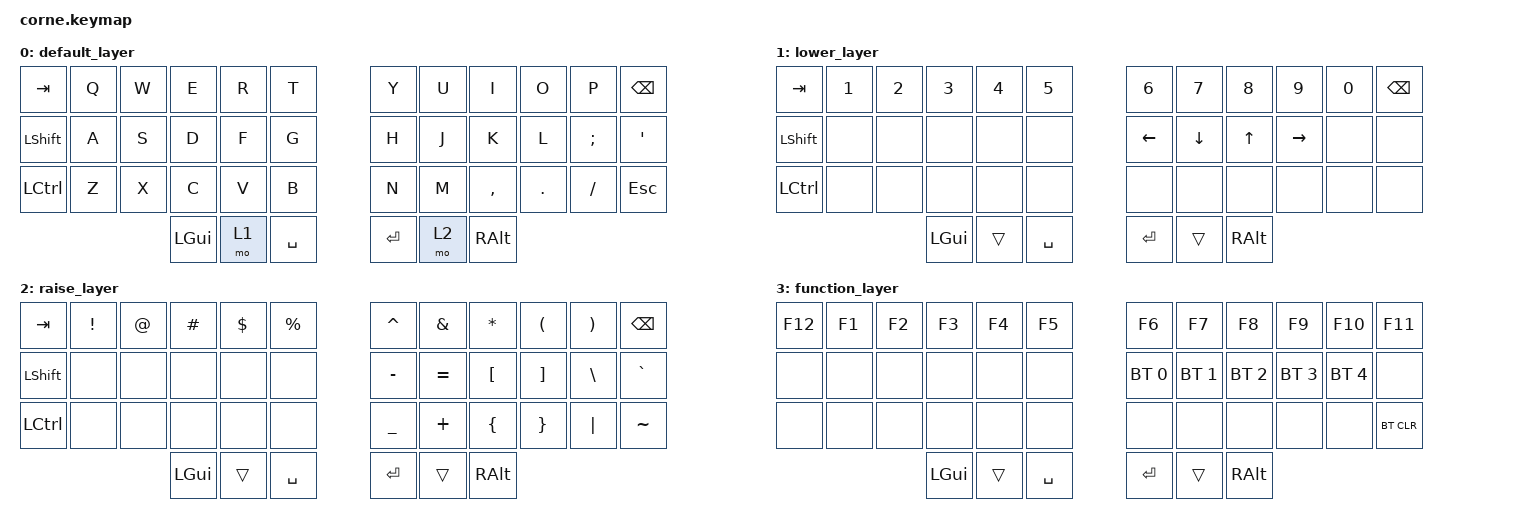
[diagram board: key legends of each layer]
/*
 * Auto-generated by convert.py from crkbd.layout.json
 * Do not edit manually — re-run the converter instead.
 */

#include <behaviors.dtsi>
#include <dt-bindings/zmk/keys.h>
#include <dt-bindings/zmk/bt.h>

/ {
    conditional_layers {
        compatible = "zmk,conditional-layers";
        tri_layer {
            if-layers = <1 2>;
            then-layer = <3>;
        };
    };

    keymap {
        compatible = "zmk,keymap";

        default_layer {
            // Default
            bindings = <
                &kp TAB      &kp Q        &kp W        &kp E        &kp R        &kp T          &kp Y        &kp U        &kp I        &kp O        &kp P        &kp BSPC    
                &kp LSHFT    &kp A        &kp S        &kp D        &kp F        &kp G          &kp H        &kp J        &kp K        &kp L        &kp SEMI     &kp SQT     
                &kp LCTRL    &kp Z        &kp X        &kp C        &kp V        &kp B          &kp N        &kp M        &kp COMMA    &kp DOT      &kp FSLH     &kp ESC     
                                        &kp LGUI     &mo 1        &kp SPACE    &kp RET      &mo 2        &kp RALT       
            >;
        };

        lower_layer {
            // Lower
            bindings = <
                &kp TAB      &kp N1       &kp N2       &kp N3       &kp N4       &kp N5         &kp N6       &kp N7       &kp N8       &kp N9       &kp N0       &kp BSPC    
                &kp LSHFT    &none        &none        &none        &none        &none          &kp LEFT     &kp DOWN     &kp UP       &kp RIGHT    &none        &none       
                &kp LCTRL    &none        &none        &none        &none        &none          &none        &none        &none        &none        &none        &none       
                                        &kp LGUI     &trans       &kp SPACE    &kp RET      &trans       &kp RALT       
            >;
        };

        raise_layer {
            // Raise
            bindings = <
                &kp TAB      &kp EXCL     &kp AT       &kp HASH     &kp DLLR     &kp PRCNT      &kp CARET    &kp AMPS     &kp ASTRK    &kp LPAR     &kp RPAR     &kp BSPC    
                &kp LSHFT    &none        &none        &none        &none        &none          &kp MINUS    &kp EQUAL    &kp LBKT     &kp RBKT     &kp BSLH     &kp GRAVE   
                &kp LCTRL    &none        &none        &none        &none        &none          &kp UNDER    &kp PLUS     &kp LBRC     &kp RBRC     &kp PIPE     &kp TILDE   
                                        &kp LGUI     &trans       &kp SPACE    &kp RET      &trans       &kp RALT       
            >;
        };

        function_layer {
            // Function
            bindings = <
                &kp F12      &kp F1       &kp F2       &kp F3       &kp F4       &kp F5         &kp F6       &kp F7       &kp F8       &kp F9       &kp F10      &kp F11     
                &none        &none        &none        &none        &none        &none          &bt BT_SEL 0 &bt BT_SEL 1 &bt BT_SEL 2 &bt BT_SEL 3 &bt BT_SEL 4 &none       
                &none        &none        &none        &none        &none        &none          &none        &none        &none        &none        &none        &bt BT_CLR  
                                        &kp LGUI     &trans       &kp SPACE    &kp RET      &trans       &kp RALT       
            >;
        };
    };
};
